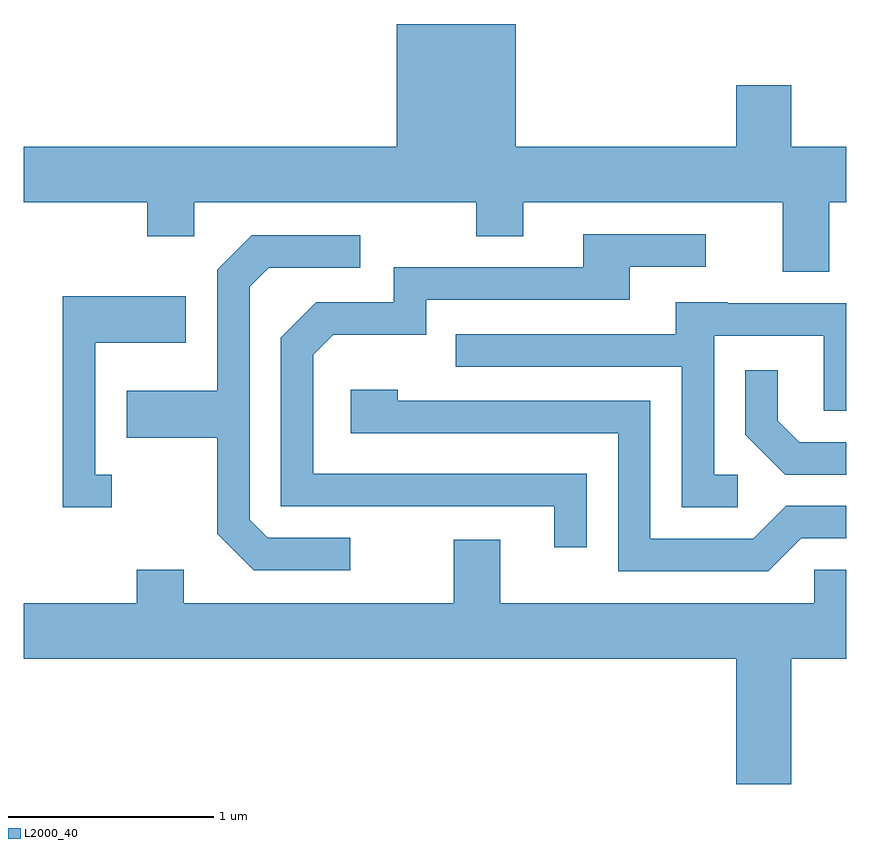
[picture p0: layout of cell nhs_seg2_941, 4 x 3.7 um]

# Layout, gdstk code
import gdstk
lib = gdstk.Library(unit=1e-6, precision=1e-09)
def P(c, l, *ps):  # polygons
    for p in ps: c.add(gdstk.Polygon(p, *l))
L2000_40 = (2000, 40)

nhs_seg2_941 = lib.new_cell('nhs_seg2_941')
P(nhs_seg2_941, L2000_40, [(215.529,1094.936),(215.611,1094.936),(215.611,1095.204),(215.344,1095.204),(215.344,1095.504),(215.076,1095.504),(215.076,1095.204),(214.004,1095.204),(214.004,1095.802),(213.426,1095.802),(213.426,1095.204),(211.611,1095.204),(211.611,1094.936),(212.211,1094.936),(212.211,1094.771),(212.439,1094.771),(212.439,1094.936),(213.811,1094.936),(213.811,1094.771),(214.039,1094.771),(214.039,1094.936),(215.301,1094.936),(215.301,1094.596),(215.529,1094.596)],
  [(214.349,1093.614),(213.019,1093.614),(213.019,1094.194),(213.117,1094.291),(213.569,1094.291),(213.569,1094.461),(214.559,1094.461),(214.559,1094.621),(214.928,1094.621),(214.928,1094.779),(214.331,1094.779),(214.331,1094.619),(213.411,1094.619),(213.411,1094.449),(213.034,1094.449),(212.861,1094.277),(212.861,1093.456),(214.191,1093.456),(214.191,1093.258),(214.349,1093.258)],
  [(213.198,1093.304),(212.797,1093.304),(212.709,1093.392),(212.709,1094.524),(212.802,1094.616),(213.248,1094.616),(213.248,1094.774),(212.719,1094.774),(212.551,1094.607),(212.551,1094.019),(212.111,1094.019),(212.111,1093.791),(212.551,1093.791),(212.551,1093.324),(212.729,1093.146),(213.198,1093.146)],
  [(212.038,1093.609),(211.959,1093.609),(211.959,1094.251),(212.399,1094.251),(212.399,1094.479),(211.801,1094.479),(211.801,1093.451),(212.038,1093.451)],
  [(215.083,1093.609),(214.969,1093.609),(214.969,1094.286),(215.501,1094.286),(215.501,1093.921),(215.611,1093.921),(215.611,1094.444),(215.035,1094.444),(215.035,1094.449),(214.781,1094.449),(214.781,1094.294),(213.713,1094.294),(213.713,1094.136),(214.811,1094.136),(214.811,1093.451),(215.083,1093.451)],
  [(215.611,1093.769),(215.382,1093.769),(215.279,1093.872),(215.279,1094.118),(215.121,1094.118),(215.121,1093.804),(215.314,1093.611),(215.611,1093.611)],
  [(215.392,1093.301),(215.611,1093.301),(215.611,1093.459),(215.319,1093.459),(215.159,1093.299),(214.659,1093.299),(214.659,1093.969),(213.429,1093.969),(213.429,1094.024),(213.201,1094.024),(213.201,1093.811),(214.501,1093.811),(214.501,1093.141),(215.232,1093.141)],
  [(215.344,1092.716),(215.611,1092.716),(215.611,1093.149),(215.456,1093.149),(215.456,1092.984),(213.929,1092.984),(213.929,1093.294),(213.701,1093.294),(213.701,1092.984),(212.389,1092.984),(212.389,1093.149),(212.161,1093.149),(212.161,1092.984),(211.611,1092.984),(211.611,1092.716),(215.076,1092.716),(215.076,1092.106),(215.344,1092.106)])

lib.write_gds('nhs_seg2_941.gds')
